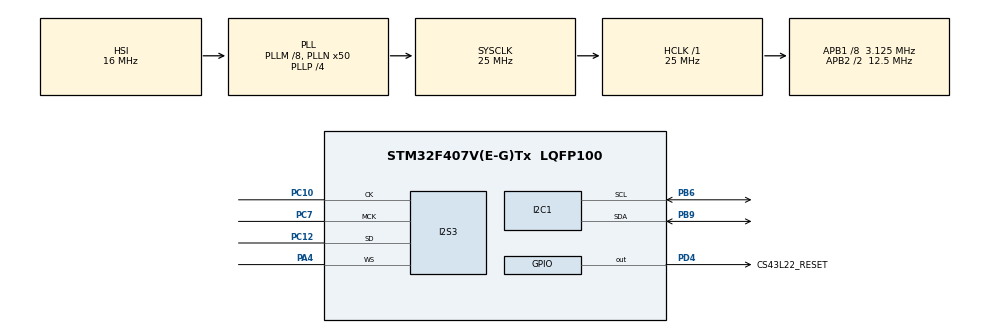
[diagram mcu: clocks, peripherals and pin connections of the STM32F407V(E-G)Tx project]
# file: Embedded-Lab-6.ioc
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Dma.Request0=SPI3_TX
Dma.SPI3_TX.0.Direction=DMA_MEMORY_TO_PERIPH
Dma.SPI3_TX.0.FIFOMode=DMA_FIFOMODE_ENABLE
Dma.SPI3_TX.0.FIFOThreshold=DMA_FIFO_THRESHOLD_FULL
Dma.SPI3_TX.0.Instance=DMA1_Stream5
Dma.SPI3_TX.0.MemBurst=DMA_MBURST_SINGLE
Dma.SPI3_TX.0.MemDataAlignment=DMA_MDATAALIGN_HALFWORD
Dma.SPI3_TX.0.MemInc=DMA_MINC_ENABLE
Dma.SPI3_TX.0.Mode=DMA_CIRCULAR
Dma.SPI3_TX.0.PeriphBurst=DMA_PBURST_SINGLE
Dma.SPI3_TX.0.PeriphDataAlignment=DMA_PDATAALIGN_HALFWORD
Dma.SPI3_TX.0.PeriphInc=DMA_PINC_DISABLE
Dma.SPI3_TX.0.Priority=DMA_PRIORITY_LOW
I2S3.AudioFreq=I2S_AUDIOFREQ_48K
I2S3.ErrorAudioFreq=-2.34 %
I2S3.FullDuplexMode=I2S_FULLDUPLEXMODE_DISABLE
I2S3.Instance=SPI$Index
I2S3.RealAudioFreq=46.875 KHz
I2S3.VirtualMode=I2S_MODE_MASTER
Mcu.Family=STM32F4
Mcu.Name=STM32F407V(E-G)Tx
Mcu.Package=LQFP100
NVIC.DMA1_Stream5_IRQn=true\:0\:0\:false\:false\:true\:false\:true\:true
NVIC.PriorityGroup=NVIC_PRIORITYGROUP_0
NVIC.SPI3_IRQn=true\:0\:0\:false\:false\:true\:true\:true\:true
PA4.Mode=Half_Duplex_Master
PA4.Signal=I2S3_WS
PB6.Mode=I2C
PB6.Signal=I2C1_SCL
PB9.Mode=I2C
PB9.Signal=I2C1_SDA
PC10.Mode=Half_Duplex_Master
PC10.Signal=I2S3_CK
PC12.Mode=Half_Duplex_Master
PC12.Signal=I2S3_SD
PC7.Mode=Master_Clock_Activated
PC7.Signal=I2S3_MCK
PD4.GPIO_Label=CS43L22_RESET
PD4.Signal=GPIO_Output
ProjectManager.HeapSize=0x200
ProjectManager.StackSize=0x400
ProjectManager.TargetToolchain=STM32CubeIDE
RCC.48MHZClocksFreq_Value=14285714.285714285
RCC.AHBFreq_Value=25000000
RCC.APB1CLKDivider=RCC_HCLK_DIV8
RCC.APB1Freq_Value=3125000
RCC.APB1TimFreq_Value=6250000
RCC.APB2CLKDivider=RCC_HCLK_DIV2
RCC.APB2Freq_Value=12500000
RCC.APB2TimFreq_Value=25000000
RCC.CortexFreq_Value=25000000
RCC.HCLKFreq_Value=25000000
RCC.HSE_VALUE=8000000
RCC.HSI_VALUE=16000000
RCC.LSE_VALUE=32768
RCC.PLLM=8
RCC.PLLN=50
RCC.PLLP=RCC_PLLP_DIV4
RCC.PLLQ=7
RCC.SYSCLKFreq_VALUE=25000000
RCC.SYSCLKSource=RCC_SYSCLKSOURCE_PLLCLK
RCC.VCOOutputFreq_Value=100000000
board=STM32F407G-DISC1

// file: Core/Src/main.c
/* USER CODE BEGIN Header */
/**
  ******************************************************************************
  * @file           : main.c
  * @brief          : Main program body
  ******************************************************************************
  * @attention
  *
  * Copyright (c) 2025 STMicroelectronics.
  * All rights reserved.
  *
  * This software is licensed under terms that can be found in the LICENSE file
  * in the root directory of this software component.
  * If no LICENSE file comes with this software, it is provided AS-IS.
  *
  ******************************************************************************
  */
/* USER CODE END Header */
#include "main.h"
#include "math.h"

/* USER CODE BEGIN PD */
#define SIN_FREQ		1000
#define SAMPLING_RATE	48000
#define BUFFER_LENGTH	SAMPLING_RATE / SIN_FREQ

#define WAVETABLE_SIZE	1024

#define AMPLITUDE		32767

#define ZERO_OFFSET		32768

//#define DMA_BUFFER_SIZE (2 * WAVETABLE_SIZE)
/* USER CODE END PD */

I2C_HandleTypeDef hi2c1;

I2S_HandleTypeDef hi2s3;
DMA_HandleTypeDef hdma_spi3_tx;

/* USER CODE BEGIN PV */
uint16_t SineWaveTable[WAVETABLE_SIZE];
uint16_t dataI2S[DMA_BUFFER_SIZE];

typedef struct {
	uint16_t frequency;
	uint16_t duration_ms;
} RTTTLNote_t;

RTTTLNote_t melody[] = {
		{988, 353}, // B5
		{0, 1},
		{988, 353}, // B5
		{0, 1},
		{988, 353}, // B5
		{0, 353},   // Pause

		{988, 353}, // B5
		{0, 1},
		{988, 353},
		{0, 1},
		{988, 353},
		{0, 353},   // Pause

		{988, 353},
		{1175, 353},
		{784, 530},
		{880, 176},
		{988, 1059},
		{0, 176},

		{1047, 353},
		{0, 1},
		{1047, 353},
		{0, 1},
		{1047, 530},
		{0, 1},
		{1047, 176},
		{0, 1},
		{1047, 353},
		{988, 353},
		{0, 1},
		{988, 353},
		{0, 1},
		{988, 176},
		{0, 1},
		{988, 176},
		{0, 1},
		{988, 353},

		{880, 353},
		{0, 1},
		{880, 353},
		{0, 1},
		{988, 353},
		{880, 706},
		{1175, 706},

		{0, 500},		// Pause

		{0, 0}			// End
};
#define MELODY_LENGTH (sizeof(melody) / sizeof(RTTTLNote_t))

volatile uint32_t current_note_index = 0;
volatile uint32_t note_time_remaining_ms = 0;
volatile double current_phase = 0.0;
uint32_t last_irq_time = 0;

volatile uint8_t melody_repeats = 3;
/* USER CODE END PV */

void SystemClock_Config(void);
static void MX_GPIO_Init(void);
static void MX_DMA_Init(void);
static void MX_I2C1_Init(void);
static void MX_I2S3_Init(void);

int main(void)
{

  /* MCU Configuration--------------------------------------------------------*/

  /* Reset of all peripherals, Initializes the Flash interface and the Systick. */
  HAL_Init();

  /* Configure the system clock */
  SystemClock_Config();

  /* Initialize all configured peripherals */
  MX_GPIO_Init();
  MX_DMA_Init();
  MX_I2C1_Init();
  MX_I2S3_Init();
  cs43l22_init();
  /* USER CODE BEGIN 2 */
  GenerateSineWaveTable();

  note_time_remaining_ms = melody[0].duration_ms;
  last_irq_time = HAL_GetTick();

  FillDMABuffer(melody[0].frequency, 0);
  FillDMABuffer(melody[0].frequency, WAVETABLE_SIZE);

  //HAL_I2S_Transmit_DMA(&hi2s3, dataI2S, DMA_BUFFER_SIZE);
  cs43l22_play(dataI2S, DMA_BUFFER_SIZE);
  /* USER CODE END 2 */

  /* Infinite loop */
  while (1)
  {

  }
}

void SystemClock_Config(void)
{
  RCC_OscInitTypeDef RCC_OscInitStruct = {0};
  RCC_ClkInitTypeDef RCC_ClkInitStruct = {0};

  /** Configure the main internal regulator output voltage
  */
  __HAL_RCC_PWR_CLK_ENABLE();
  __HAL_PWR_VOLTAGESCALING_CONFIG(PWR_REGULATOR_VOLTAGE_SCALE1);

  /** Initializes the RCC Oscillators according to the specified parameters
  * in the RCC_OscInitTypeDef structure.
  */
  RCC_OscInitStruct.OscillatorType = RCC_OSCILLATORTYPE_HSI;
  RCC_OscInitStruct.HSIState = RCC_HSI_ON;
  RCC_OscInitStruct.HSICalibrationValue = RCC_HSICALIBRATION_DEFAULT;
  RCC_OscInitStruct.PLL.PLLState = RCC_PLL_ON;
  RCC_OscInitStruct.PLL.PLLSource = RCC_PLLSOURCE_HSI;
  RCC_OscInitStruct.PLL.PLLM = 8;
  RCC_OscInitStruct.PLL.PLLN = 50;
  RCC_OscInitStruct.PLL.PLLP = RCC_PLLP_DIV4;
  RCC_OscInitStruct.PLL.PLLQ = 7;
  if (HAL_RCC_OscConfig(&RCC_OscInitStruct) != HAL_OK)
  {
    Error_Handler();
  }

  /** Initializes the CPU, AHB and APB buses clocks
  */
  RCC_ClkInitStruct.ClockType = RCC_CLOCKTYPE_HCLK|RCC_CLOCKTYPE_SYSCLK
                              |RCC_CLOCKTYPE_PCLK1|RCC_CLOCKTYPE_PCLK2;
  RCC_ClkInitStruct.SYSCLKSource = RCC_SYSCLKSOURCE_PLLCLK;
  RCC_ClkInitStruct.AHBCLKDivider = RCC_SYSCLK_DIV1;
  RCC_ClkInitStruct.APB1CLKDivider = RCC_HCLK_DIV8;
  RCC_ClkInitStruct.APB2CLKDivider = RCC_HCLK_DIV2;

  if (HAL_RCC_ClockConfig(&RCC_ClkInitStruct, FLASH_LATENCY_0) != HAL_OK)
  {
    Error_Handler();
  }
}

static void MX_I2C1_Init(void)
{

  hi2c1.Instance = I2C1;
  hi2c1.Init.ClockSpeed = 100000;
  hi2c1.Init.DutyCycle = I2C_DUTYCYCLE_2;
  hi2c1.Init.OwnAddress1 = 0;
  hi2c1.Init.AddressingMode = I2C_ADDRESSINGMODE_7BIT;
  hi2c1.Init.DualAddressMode = I2C_DUALADDRESS_DISABLE;
  hi2c1.Init.OwnAddress2 = 0;
  hi2c1.Init.GeneralCallMode = I2C_GENERALCALL_DISABLE;
  hi2c1.Init.NoStretchMode = I2C_NOSTRETCH_DISABLE;
  if (HAL_I2C_Init(&hi2c1) != HAL_OK)
  {
    Error_Handler();
  }

}

static void MX_I2S3_Init(void)
{

  hi2s3.Instance = SPI3;
  hi2s3.Init.Mode = I2S_MODE_MASTER_TX;
  hi2s3.Init.Standard = I2S_STANDARD_PHILIPS;
  hi2s3.Init.DataFormat = I2S_DATAFORMAT_16B;
  hi2s3.Init.MCLKOutput = I2S_MCLKOUTPUT_ENABLE;
  hi2s3.Init.AudioFreq = I2S_AUDIOFREQ_48K;
  hi2s3.Init.CPOL = I2S_CPOL_LOW;
  hi2s3.Init.ClockSource = I2S_CLOCK_PLL;
  hi2s3.Init.FullDuplexMode = I2S_FULLDUPLEXMODE_DISABLE;
  if (HAL_I2S_Init(&hi2s3) != HAL_OK)
  {
    Error_Handler();
  }

}

static void MX_DMA_Init(void)
{

  /* DMA controller clock enable */
  __HAL_RCC_DMA1_CLK_ENABLE();

  /* DMA interrupt init */
  /* DMA1_Stream5_IRQn interrupt configuration */
  HAL_NVIC_SetPriority(DMA1_Stream5_IRQn, 0, 0);
  HAL_NVIC_EnableIRQ(DMA1_Stream5_IRQn);

}

static void MX_GPIO_Init(void)
{
  GPIO_InitTypeDef GPIO_InitStruct = {0};

  /* GPIO Ports Clock Enable */
  __HAL_RCC_GPIOA_CLK_ENABLE();
  __HAL_RCC_GPIOC_CLK_ENABLE();
  __HAL_RCC_GPIOD_CLK_ENABLE();
  __HAL_RCC_GPIOB_CLK_ENABLE();

  /*Configure GPIO pin Output Level */
  HAL_GPIO_WritePin(CS43L22_RESET_GPIO_Port, CS43L22_RESET_Pin, GPIO_PIN_RESET);

  /*Configure GPIO pin : CS43L22_RESET_Pin */
  GPIO_InitStruct.Pin = CS43L22_RESET_Pin;
  GPIO_InitStruct.Mode = GPIO_MODE_OUTPUT_PP;
  GPIO_InitStruct.Pull = GPIO_NOPULL;
  GPIO_InitStruct.Speed = GPIO_SPEED_FREQ_LOW;
  HAL_GPIO_Init(CS43L22_RESET_GPIO_Port, &GPIO_InitStruct);

}

/* USER CODE BEGIN 4 */
void GenerateSineWaveTable(void)
{
	for (int i = 0; i < WAVETABLE_SIZE; i++)
	{
		double sample = sin((double)i / WAVETABLE_SIZE * 2.0 * M_PI);
		SineWaveTable[i] = (uint16_t)(ZERO_OFFSET + AMPLITUDE * sample);
	}
}

void FillDMABuffer(uint16_t target_frequency, uint32_t offset)
{
	double increment = (double)WAVETABLE_SIZE * target_frequency / (double)SAMPLING_RATE;

	if (target_frequency == 0) increment = 0;

	uint32_t half_size = WAVETABLE_SIZE;

	for (int i = 0; i < half_size / 2; i++)
	{
		uint16_t sample;

		if (target_frequency == 0)
		{
			sample = ZERO_OFFSET;
		}
		else
		{
			int index = (int)current_phase;
			sample = SineWaveTable[index];
		}

		dataI2S[offset + i * 2] = sample;
		dataI2S[offset + i * 2 + 1] = sample;

		current_phase += increment;

		if (target_frequency != 0){
			current_phase += increment;
			if(current_phase >= WAVETABLE_SIZE) current_phase -= WAVETABLE_SIZE;
		}

	}
}

void HAL_I2S_TxHalfCpltCallback(I2S_HandleTypeDef *hi2s){
	if (hi2s->Instance == SPI3)
	{
		uint32_t elapsed_time = HAL_GetTick() - last_irq_time;
		note_time_remaining_ms = (note_time_remaining_ms > elapsed_time) ? (note_time_remaining_ms - elapsed_time) : 0;
		last_irq_time = HAL_GetTick();

		if (note_time_remaining_ms == 0) {
			if (current_note_index + 1 >= MELODY_LENGTH)
			{
				if (melody_repeats > 0) melody_repeats--;
				if (melody_repeats == 0)
				{
					HAL_GPIO_WritePin(GPIOD, CS43L22_RESET_Pin, GPIO_PIN_RESET);
					HAL_I2S_DMAStop(&hi2s3);
					current_note_index = 0;
					return;
				}
				current_note_index = 0;
			}
			else current_note_index++;
			//current_note_index = (current_note_index + 1) % MELODY_LENGTH;
			note_time_remaining_ms = melody[current_note_index].duration_ms;
		}

		FillDMABuffer(melody[current_note_index].frequency, 0);
	}
}

void HAL_I2S_TxCpltCallback(I2S_HandleTypeDef *hi2s){
	if (hi2s->Instance == SPI3)
	{
		uint32_t elapsed_time = HAL_GetTick() - last_irq_time;
		note_time_remaining_ms = (note_time_remaining_ms > elapsed_time) ? (note_time_remaining_ms - elapsed_time) : 0;
		last_irq_time = HAL_GetTick();

		if (note_time_remaining_ms == 0) {
			if (current_note_index + 1 >= MELODY_LENGTH)
			{
				if (melody_repeats > 0) melody_repeats--;
				if (melody_repeats == 0)
				{
					HAL_GPIO_WritePin(GPIOD, CS43L22_RESET_Pin, GPIO_PIN_RESET);
					HAL_I2S_DMAStop(&hi2s3);
					current_note_index = 0;
					return;
				}
				current_note_index = 0;
			}
			else current_note_index++;
			//current_note_index = (current_note_index + 1) % MELODY_LENGTH;
			note_time_remaining_ms = melody[current_note_index].duration_ms;
		}

		FillDMABuffer(melody[current_note_index].frequency, DMA_BUFFER_SIZE / 2);
	}
}
/* USER CODE END 4 */

void Error_Handler(void)
{
  __disable_irq();
  while (1)
  {
  }
}
